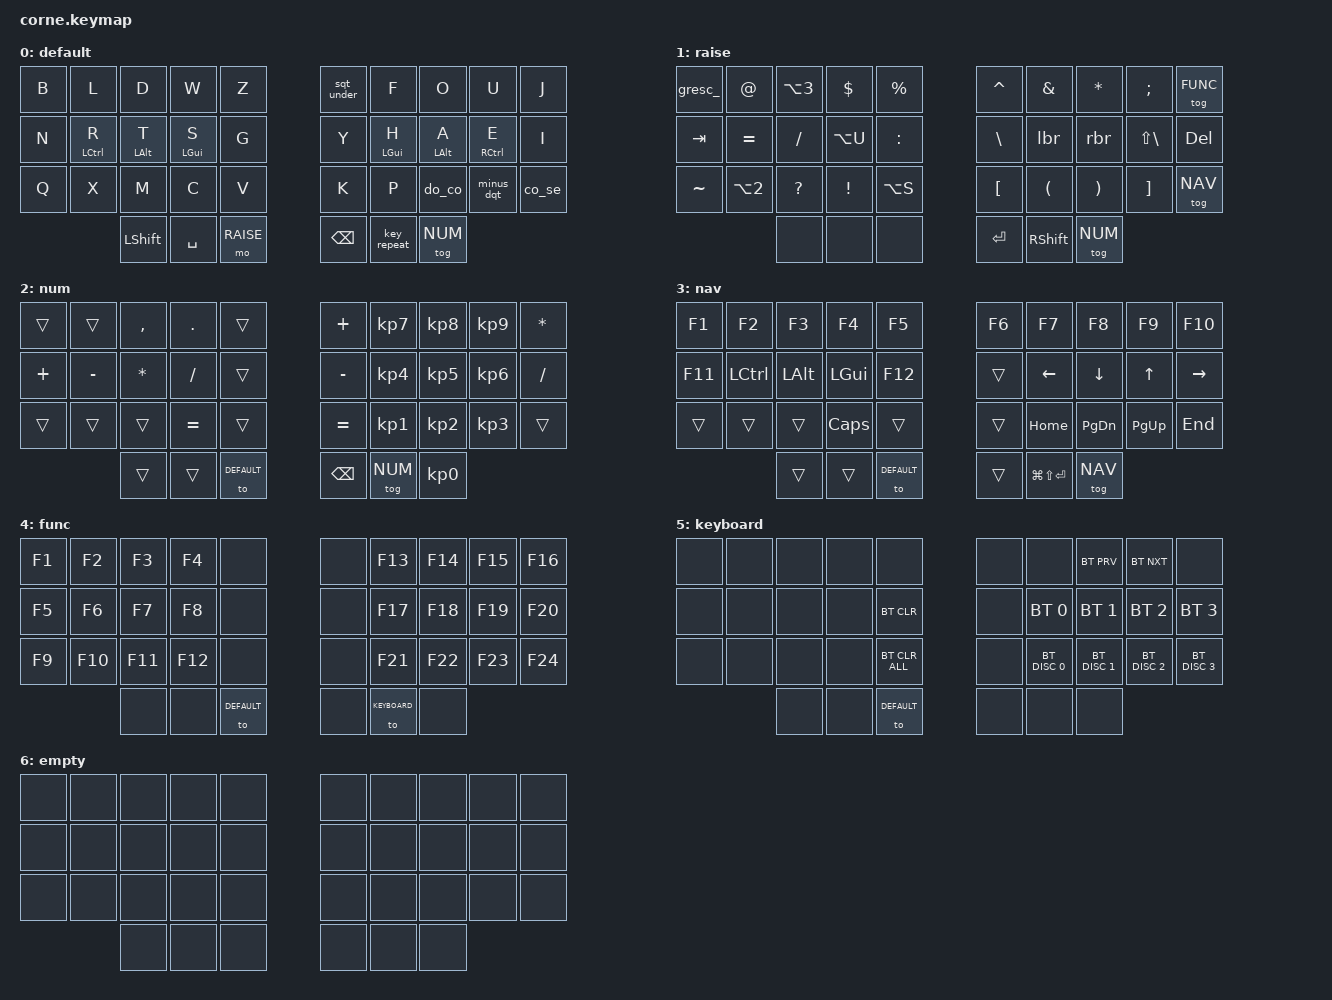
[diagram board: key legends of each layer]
/*
* Copyright (c) 2020 The ZMK Contributors
*
* SPDX-License-Identifier: MIT
*/
#include <behaviors.dtsi>
#include <dt-bindings/zmk/keys.h>
#include <dt-bindings/zmk/bt.h>


#define DEFAULT     0
#define RAISE       1
#define NUM         2
#define NAV         3
#define FUNC        4
#define KEYBOARD    5

#define XXX &none
#define ___ &trans


// other keys rebound on my mac
#define GLOBE CAPS;
#define GLB CAPS;


#include "includes/macros.dtsi"


/{ 
    chosen {
        zmk,matrix_transform = &five_column_transform;
    };
};

/ {

    behaviors {

        ZMK_HOMEROW_BINDINGS(hm, &kp, &kp)
        ZMK_HOMEROW_BINDINGS(hl, &mo, &kp)

        // ZMK_HOMEROW_BINDINGS(hm_ae_la,  &kp,    &u_ae)
        ZMK_HOMEROW_BINDINGS(krl,       &mo,    &key_repeat)
        
        ZMK_MOD_MORPH_S(sqt_under,  &kp SQT,    &kp UNDER)
        ZMK_MOD_MORPH_S(minus_dqt,  &kp MINUS,  &kp DQT)
        ZMK_MOD_MORPH_S(do_co,      &kp DOT,    &kp COLON)
        ZMK_MOD_MORPH_S(co_se,      &kp COMMA,  &kp SEMI)
        ZMK_MOD_MORPH_S(gresc_,     &kp ESC,    &kp GRAVE)

        ZMK_MOD_MORPH_S(lbr, &kp LS(LBKT), &kp LS(COMMA))
        ZMK_MOD_MORPH_S(rbr, &kp LS(RBKT), &kp LS(DOT))
        

    };

    combos {
        compatible = "zmk,combos";
        combo_caps_aka_globe {
            timeout-ms = <50>;
            key-positions = <10 19>;
            bindings = <&kp CAPS>;
        };
    };


    macros {
        dl: delete_line {
            compatible = "zmk,behavior-macro";
            #binding-cells = <0>;
            bindings
                = <&macro_tap &kp LG(RIGHT)>
                , <&macro_tap &kp LG(BSPC)>
                ;
        };
    };


	keymap {
        compatible = "zmk,keymap";

        default {
            bindings = <
                /*                                                                          ' _                */
                &kp B       &kp L           &kp D           &kp W           &kp Z               &sqt_under      &kp F               &kp O               &kp U           &kp J
                &kp N       &hm LCTRL R     &hm LALT T      &hm LGUI S      &kp G               &kp Y           &hm LGUI H          &hm LALT A          &hm RCTRL E     &kp I
                /*                                                                                                                  . :                 - "             , ;      */
                &kp Q       &kp X           &kp M           &kp C           &kp V               &kp K           &kp P               &do_co              &minus_dqt      &co_se
                                            &kp LSHFT       &kp SPACE       &mo RAISE           &kp BSPC        &key_repeat         &tog NUM
            >;
        };

        raise {
            bindings = <
                /* Grave Escape  @      #           $           %                       ^           &               *           ;               TO FUNC      */
                &gresc_     &kp AT      &kp LA(N3)  &kp DLLR    &kp PRCNT               &kp CARET   &kp AMPS        &kp STAR    &kp SEMI        &tog FUNC
                /* +        =           /           ¨ for öäü   :                       \           { <             } >         |               DEL         */
                &kp TAB     &kp EQUAL   &kp FSLH    &kp LA(U)   &kp COLON               &kp BSLH    &lbr            &rbr        &kp LS(BSLH)    &kp DEL
                /*  ~       €           ?           !           ß                       [           (               )           ]               TO NAV      */
                &kp TILDE   &kp LA(N2)  &kp QMARK   &kp EXCL    &kp LA(S)               &kp LBKT    &kp LPAR        &kp RPAR    &kp RBKT        &tog NAV
                                        XXX         XXX         XXX                     &kp RET     &kp RSHFT       &tog NUM        
            >;
        };
        
        // toggled
        num {
            bindings = <
                ___         ___         &kp COMMA   &kp DOT     ___                 &kp PLUS        &kp KP_N7       &kp KP_N8   &kp KP_N9   &kp STAR
                &kp PLUS    &kp MINUS   &kp STAR    &kp FSLH    ___                 &kp MINUS       &kp KP_N4       &kp KP_N5   &kp KP_N6   &kp FSLH
                ___         ___         ___         &kp EQUAL   ___                 &kp EQUAL       &kp KP_N1       &kp KP_N2   &kp KP_N3   ___
                                        ___         ___         &to DEFAULT         &kp BSPC        &tog NUM        &kp KP_N0
            >;
        };

        // toggled
        nav {
            bindings = <
                &kp F1      &kp F2      &kp F3      &kp F4      &kp F5              &kp F6      &kp F7              &kp F8          &kp F9          &kp F10
                &kp F11     &kp LCTRL   &kp LALT    &kp LGUI    &kp F12             ___         &kp LEFT            &kp DOWN        &kp UP          &kp RIGHT
                ___         ___         ___         &kp CAPS    ___                 ___         &kp HOME            &kp PG_DN       &kp PG_UP       &kp END
                                        ___         ___         &to DEFAULT         ___         &kp LG(LS(RETURN))  &tog NAV
            >;
        };

        // toggled
        func {
            bindings = <
                &kp F1  &kp F2  &kp F3  &kp F4   XXX                XXX     &kp F13 &kp     F14 &kp F15 &kp F16
                &kp F5  &kp F6  &kp F7  &kp F8   XXX                XXX     &kp F17 &kp     F18 &kp F19 &kp F20
                &kp F9  &kp F10 &kp F11 &kp F12  XXX                XXX     &kp F21 &kp     F22 &kp F23 &kp F24
                                XXX     XXX      &to DEFAULT        XXX     &to KEYBOARD    XXX  
            >;
        };

        keyboard {
            bindings = <
                XXX     XXX     XXX     XXX     XXX                     XXX     XXX             &bt BT_PRV      &bt BT_NXT      XXX
                XXX     XXX     XXX     XXX     &bt BT_CLR              XXX     &bt BT_SEL 0    &bt BT_SEL 1    &bt BT_SEL 2    &bt BT_SEL 3
                XXX     XXX     XXX     XXX     &bt BT_CLR_ALL          XXX     &bt BT_DISC 0   &bt BT_DISC 1   &bt BT_DISC 2   &bt BT_DISC 3
                                XXX     XXX     &to DEFAULT             XXX     XXX             XXX
            >;
        };

        empty {
            bindings = <
                XXX     XXX     XXX     XXX     XXX             XXX     XXX     XXX     XXX     XXX
                XXX     XXX     XXX     XXX     XXX             XXX     XXX     XXX     XXX     XXX
                XXX     XXX     XXX     XXX     XXX             XXX     XXX     XXX     XXX     XXX
                                XXX     XXX     XXX             XXX     XXX     XXX  
            >;
        };
    };
};
